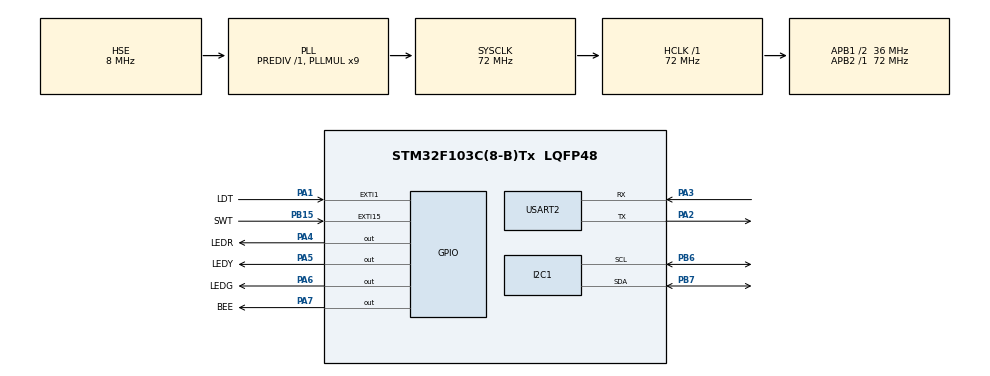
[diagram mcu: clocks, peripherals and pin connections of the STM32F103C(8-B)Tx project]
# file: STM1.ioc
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Dma.I2C1_RX.0.Direction=DMA_PERIPH_TO_MEMORY
Dma.I2C1_RX.0.Instance=DMA1_Channel7
Dma.I2C1_RX.0.MemDataAlignment=DMA_MDATAALIGN_BYTE
Dma.I2C1_RX.0.MemInc=DMA_MINC_ENABLE
Dma.I2C1_RX.0.Mode=DMA_NORMAL
Dma.I2C1_RX.0.PeriphDataAlignment=DMA_PDATAALIGN_BYTE
Dma.I2C1_RX.0.PeriphInc=DMA_PINC_DISABLE
Dma.I2C1_RX.0.Priority=DMA_PRIORITY_LOW
Dma.I2C1_TX.1.Direction=DMA_MEMORY_TO_PERIPH
Dma.I2C1_TX.1.Instance=DMA1_Channel6
Dma.I2C1_TX.1.MemDataAlignment=DMA_MDATAALIGN_BYTE
Dma.I2C1_TX.1.MemInc=DMA_MINC_ENABLE
Dma.I2C1_TX.1.Mode=DMA_NORMAL
Dma.I2C1_TX.1.PeriphDataAlignment=DMA_PDATAALIGN_BYTE
Dma.I2C1_TX.1.PeriphInc=DMA_PINC_DISABLE
Dma.I2C1_TX.1.Priority=DMA_PRIORITY_LOW
Dma.Request0=I2C1_RX
Dma.Request1=I2C1_TX
I2C1.I2C_Mode=I2C_Fast
Mcu.Family=STM32F1
Mcu.Name=STM32F103C(8-B)Tx
Mcu.Package=LQFP48
NVIC.DMA1_Channel6_IRQn=true\:0\:0\:false\:false\:true\:false\:true\:true
NVIC.DMA1_Channel7_IRQn=true\:0\:0\:false\:false\:true\:false\:true\:true
NVIC.EXTI1_IRQn=true\:15\:0\:true\:false\:true\:true\:true\:true
NVIC.PVD_IRQn=true\:14\:0\:true\:false\:true\:true\:true\:true
NVIC.PriorityGroup=NVIC_PRIORITYGROUP_4
PA1.GPIO_Label=LDT
PA1.GPIO_ModeDefaultEXTI=GPIO_MODE_IT_RISING_FALLING
PA1.Signal=GPXTI1
PA2.Mode=Asynchronous
PA2.Signal=USART2_TX
PA3.Mode=Asynchronous
PA3.Signal=USART2_RX
PA4.GPIO_Label=LEDR
PA4.GPIO_ModeDefaultOutputPP=GPIO_MODE_OUTPUT_PP
PA4.GPIO_PuPd=GPIO_NOPULL
PA4.PinState=GPIO_PIN_RESET
PA4.Signal=GPIO_Output
PA5.GPIO_Label=LEDY
PA5.GPIO_ModeDefaultOutputPP=GPIO_MODE_OUTPUT_PP
PA5.GPIO_PuPd=GPIO_NOPULL
PA5.PinState=GPIO_PIN_RESET
PA5.Signal=GPIO_Output
PA6.GPIO_Label=LEDG
PA6.GPIO_ModeDefaultOutputPP=GPIO_MODE_OUTPUT_PP
PA6.GPIO_PuPd=GPIO_NOPULL
PA6.PinState=GPIO_PIN_RESET
PA6.Signal=GPIO_Output
PA7.GPIO_Label=BEE
PA7.PinState=GPIO_PIN_SET
PA7.Signal=GPIO_Output
PB15.GPIO_Label=SWT
PB15.Signal=GPXTI15
PB6.Mode=I2C
PB6.Signal=I2C1_SCL
PB7.Mode=I2C
PB7.Signal=I2C1_SDA
PD0-OSC_IN.Mode=HSE-External-Oscillator
PD0-OSC_IN.Signal=RCC_OSC_IN
PD1-OSC_OUT.Mode=HSE-External-Oscillator
PD1-OSC_OUT.Signal=RCC_OSC_OUT
ProjectManager.HeapSize=0x200
ProjectManager.StackSize=0x400
ProjectManager.TargetToolchain=STM32CubeIDE
RCC.AHBFreq_Value=72000000
RCC.APB1CLKDivider=RCC_HCLK_DIV2
RCC.APB1Freq_Value=36000000
RCC.APB1TimFreq_Value=72000000
RCC.APB2Freq_Value=72000000
RCC.APB2TimFreq_Value=72000000
RCC.HCLKFreq_Value=72000000
RCC.PLLMUL=RCC_PLL_MUL9
RCC.PLLSourceVirtual=RCC_PLLSOURCE_HSE
RCC.SYSCLKFreq_VALUE=72000000
RCC.SYSCLKSource=RCC_SYSCLKSOURCE_PLLCLK
RCC.USBFreq_Value=72000000
USART2.VirtualMode=VM_ASYNC
VP_SYS_VS_ND.Mode=No_Debug
board=custom

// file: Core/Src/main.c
/* USER CODE BEGIN Header */
/**
  ******************************************************************************
  * @file           : main.c
  * @brief          : Main program body
  ******************************************************************************
  * @attention
  *
  * Copyright (c) 2023 STMicroelectronics.
  * All rights reserved.
  *
  * This software is licensed under terms that can be found in the LICENSE file
  * in the root directory of this software component.
  * If no LICENSE file comes with this software, it is provided AS-IS.
  *
  ******************************************************************************
  */
/* USER CODE END Header */
#include "main.h"
#include "dma.h"
#include "i2c.h"
#include "usart.h"
#include "gpio.h"

/* USER CODE BEGIN PV */
static char ldt_status = 0;
static char ldt_status_old = 0;
/* USER CODE END PV */

void SystemClock_Config(void);

int main(void)
{
  /* USER CODE BEGIN 1 */
	char staring_red_status = 1;
	if (HAL_GPIO_ReadPin(GPIOA, LDT_Pin) == GPIO_PIN_SET) {
		ldt_status_old = 1;
		HAL_GPIO_WritePin(GPIOA, LEDG_Pin, GPIO_PIN_SET);
	} else {
		ldt_status_old = 0;
		HAL_GPIO_WritePin(GPIOA, LEDY_Pin, GPIO_PIN_SET);
	}
  /* USER CODE END 1 */

  /* MCU Configuration--------------------------------------------------------*/

  /* Reset of all peripherals, Initializes the Flash interface and the Systick. */
  HAL_Init();

  /* Configure the system clock */
  SystemClock_Config();

  /* Initialize all configured peripherals */
  MX_GPIO_Init();
  MX_DMA_Init();
  MX_I2C1_Init();
  MX_USART2_UART_Init();
  /* USER CODE BEGIN 2 */
  OLED_Init();
  OLED_SetBlack();
  uint8_t OLED_GRAM[8][128] = {0};
  for (int i = 0; i < 8; ++i) {
	  for (int j = 0; j < 128; ++j) {
		  OLED_SetPixel(j, i, 1, OLED_GRAM);
		  OLED_ShowFrame(OLED_GRAM);
		  HAL_Delay(10);
	  }
  }
  /* USER CODE END 2 */

  /* Infinite loop */
  /* USER CODE BEGIN WHILE */
	while (1) {
		staring_red(staring_red_status);

		if (HAL_GPIO_ReadPin(GPIOA, LDT_Pin) == GPIO_PIN_SET) {
			ldt_status = 1;
		} else {
			ldt_status = 0;
		}

		if (ldt_status != ldt_status_old) {
			if (ldt_status == 1) {
				HAL_GPIO_WritePin(GPIOA, LEDG_Pin, GPIO_PIN_RESET);
				HAL_GPIO_WritePin(GPIOA, LEDY_Pin, GPIO_PIN_SET);
				bee(100);
				ldt_status_old = ldt_status;
			}
			else if (ldt_status == 0) {
				HAL_GPIO_WritePin(GPIOA, LEDY_Pin, GPIO_PIN_RESET);
				HAL_GPIO_WritePin(GPIOA, LEDG_Pin, GPIO_PIN_SET);
				bee(100);
				ldt_status_old = ldt_status;
			}
		}
    /* USER CODE END WHILE */

	}
}

void SystemClock_Config(void)
{
  RCC_OscInitTypeDef RCC_OscInitStruct = {0};
  RCC_ClkInitTypeDef RCC_ClkInitStruct = {0};

  /** Initializes the RCC Oscillators according to the specified parameters
  * in the RCC_OscInitTypeDef structure.
  */
  RCC_OscInitStruct.OscillatorType = RCC_OSCILLATORTYPE_HSE;
  RCC_OscInitStruct.HSEState = RCC_HSE_ON;
  RCC_OscInitStruct.HSEPredivValue = RCC_HSE_PREDIV_DIV1;
  RCC_OscInitStruct.HSIState = RCC_HSI_ON;
  RCC_OscInitStruct.PLL.PLLState = RCC_PLL_ON;
  RCC_OscInitStruct.PLL.PLLSource = RCC_PLLSOURCE_HSE;
  RCC_OscInitStruct.PLL.PLLMUL = RCC_PLL_MUL9;
  if (HAL_RCC_OscConfig(&RCC_OscInitStruct) != HAL_OK)
  {
    Error_Handler();
  }

  /** Initializes the CPU, AHB and APB buses clocks
  */
  RCC_ClkInitStruct.ClockType = RCC_CLOCKTYPE_HCLK|RCC_CLOCKTYPE_SYSCLK
                              |RCC_CLOCKTYPE_PCLK1|RCC_CLOCKTYPE_PCLK2;
  RCC_ClkInitStruct.SYSCLKSource = RCC_SYSCLKSOURCE_PLLCLK;
  RCC_ClkInitStruct.AHBCLKDivider = RCC_SYSCLK_DIV1;
  RCC_ClkInitStruct.APB1CLKDivider = RCC_HCLK_DIV2;
  RCC_ClkInitStruct.APB2CLKDivider = RCC_HCLK_DIV1;

  if (HAL_RCC_ClockConfig(&RCC_ClkInitStruct, FLASH_LATENCY_2) != HAL_OK)
  {
    Error_Handler();
  }
}

/* USER CODE BEGIN 4 */
void bee(int time) {
	HAL_GPIO_WritePin(GPIOA, BEE_Pin, GPIO_PIN_RESET);
	HAL_Delay(time);
	HAL_GPIO_WritePin(GPIOA, BEE_Pin, GPIO_PIN_SET);
}

void staring_red(int status) {
	if (status == 1) {
		HAL_GPIO_WritePin(GPIOA, LEDR_Pin, GPIO_PIN_SET);
		HAL_Delay(500);
		HAL_GPIO_WritePin(GPIOA, LEDR_Pin, GPIO_PIN_RESET);
		HAL_Delay(500);
	}
}

/* USER CODE END 4 */

void Error_Handler(void)
{
	__disable_irq();
	while (1) {
	}
}
